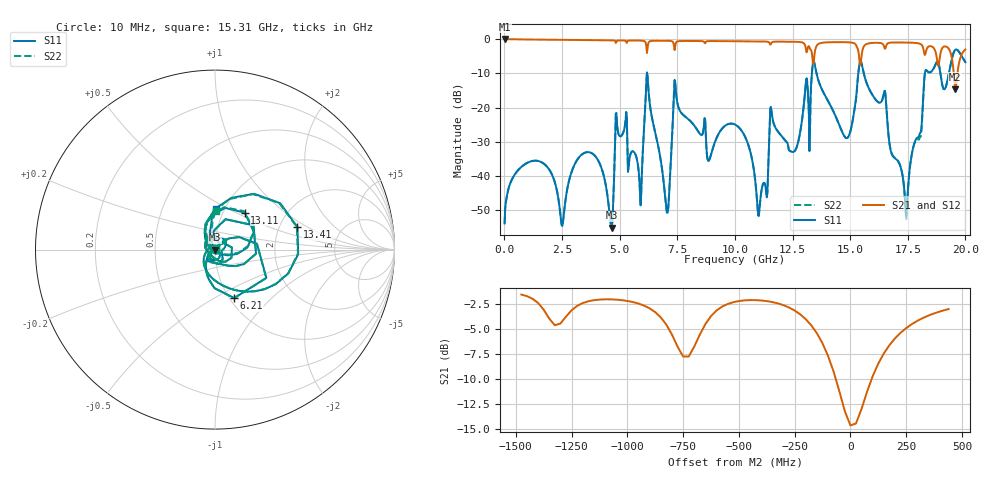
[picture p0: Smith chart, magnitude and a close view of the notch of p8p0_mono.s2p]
! Stitch-density study - 40 x 12 mm symmetric stripline, cut at x=20 mm
! Case: p8p0_mono
! Sweep: 10 MHz - 20 GHz, 25 MHz step, 4 cores
# GHz S MA R 50.000000
! Terminal data exported
! Port[1] = U1.PAD1.SIG
! Port[2] = U2.PAD1.SIG
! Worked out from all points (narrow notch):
!   801 points, 10 MHz to 20 GHz, reference 50 ohm
!   highest |S21| = -0.02 dB at 10 MHz (marker M1); lowest = -14.7 dB at 19.56 GHz (marker M2)
!   notch at M2: 14.0 dB deep, 247 MHz wide at half that depth
!   lowest |S11| = -55.1 dB at 4.66 GHz (marker M3), VSWR 1.00, Z = 49.9 - j0.0971 ohm
!   |S11| at or under -10 dB: start of sweep to 6.183 GHz; 6.192 GHz to 13.34 GHz (7.148 GHz wide, 73.2 % of centre); 15.59 GHz to 18.24 GHz (2.651 GHz wide, 15.7 % of centre)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
!   |S22| runs from -54.6 to -3.1 dB; largest |S21 - S12| = 0
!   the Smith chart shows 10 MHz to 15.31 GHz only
!   S11 on the Smith chart (normalised r, x): 10 MHz: 1.00, +0.00; 6.21 GHz: 1.05, -0.62; 13.11 GHz: 1.26, +0.56; 13.41 GHz: 2.51, +0.81; 15.31 GHz: 0.92, +0.43
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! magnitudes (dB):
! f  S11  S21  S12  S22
! 10 MHz  -53.8  0.0  0.0  -53.8
! 3.36 GHz  -33.7  -0.3  -0.3  -33.7
! 4.66 GHz  -55.1  -0.4  -0.4  -54.6
! 4.91 GHz  -26.3  -0.5  -0.5  -26.3
! 5.885 GHz  -44.9  -0.5  -0.5  -44.8
! 6.21 GHz  -10.7  -2.7  -2.7  -10.7
! 6.685 GHz  -31.7  -0.5  -0.5  -31.7
! 7.06 GHz  -50.7  -0.5  -0.5  -50.9
! 7.435 GHz  -14.9  -1.3  -1.3  -14.9
! 10.01 GHz  -25.0  -0.6  -0.6  -25.0
! 11.04 GHz  -51.6  -0.7  -0.7  -51.6
! 11.61 GHz  -22.3  -0.9  -0.9  -22.3
! 13.11 GHz  -11.6  -3.9  -3.9  -11.4
! 13.36 GHz  -8.4  -5.2  -5.2  -8.5
! 13.41 GHz  -6.4  -7.3  -7.3  -6.5
! 14.81 GHz  -28.8  -0.9  -0.9  -28.8
! 15.31 GHz  -12.9  -2.6  -2.6  -13.4
! 16.68 GHz  -29.4  -1.1  -1.1  -29.4
! 17.43 GHz  -51.5  -1.0  -1.0  -52.9
! 18.31 GHz  -9.1  -3.2  -3.2  -9.2
! 19.56 GHz  -3.2  -14.7  -14.7  -3.2
! 20 GHz  -6.8  -3.0  -3.0  -6.8
